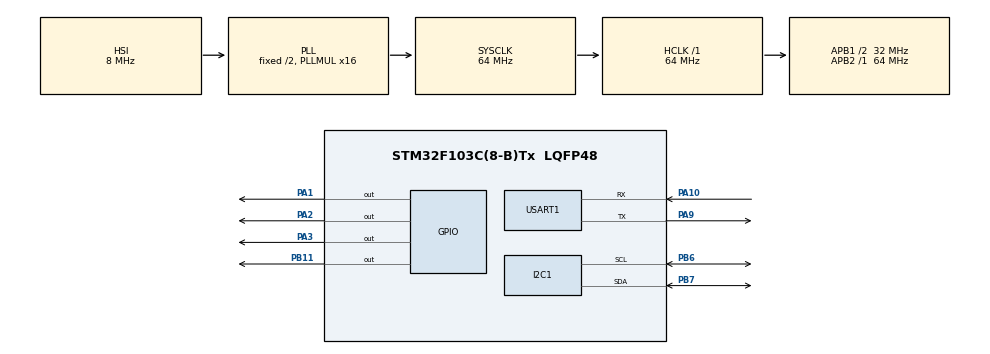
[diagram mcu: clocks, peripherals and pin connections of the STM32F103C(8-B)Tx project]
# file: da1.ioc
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Mcu.Family=STM32F1
Mcu.Name=STM32F103C(8-B)Tx
Mcu.Package=LQFP48
NVIC.PriorityGroup=NVIC_PRIORITYGROUP_4
PA1.Signal=GPIO_Output
PA10.Mode=Asynchronous
PA10.Signal=USART1_RX
PA13.Mode=Serial_Wire
PA13.Signal=SYS_JTMS-SWDIO
PA14.Mode=Serial_Wire
PA14.Signal=SYS_JTCK-SWCLK
PA2.Signal=GPIO_Output
PA3.Signal=GPIO_Output
PA9.Mode=Asynchronous
PA9.Signal=USART1_TX
PB11.Signal=GPIO_Output
PB6.Mode=I2C
PB6.Signal=I2C1_SCL
PB7.Mode=I2C
PB7.Signal=I2C1_SDA
ProjectManager.HeapSize=0x200
ProjectManager.StackSize=0x400
ProjectManager.TargetToolchain=MDK-ARM V5.32
RCC.AHBFreq_Value=64000000
RCC.APB1CLKDivider=RCC_HCLK_DIV2
RCC.APB1Freq_Value=32000000
RCC.APB1TimFreq_Value=64000000
RCC.APB2Freq_Value=64000000
RCC.APB2TimFreq_Value=64000000
RCC.HCLKFreq_Value=64000000
RCC.PLLMUL=RCC_PLL_MUL16
RCC.SYSCLKFreq_VALUE=64000000
RCC.SYSCLKSource=RCC_SYSCLKSOURCE_PLLCLK
RCC.USBFreq_Value=64000000
USART1.VirtualMode=VM_ASYNC
board=custom

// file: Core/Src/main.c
/* USER CODE BEGIN Header */
/**
  ******************************************************************************
  * @file           : main.c
  * @brief          : Main program body
  ******************************************************************************
  * @attention
  *
  * Copyright (c) 2026 STMicroelectronics.
  * All rights reserved.
  *
  * This software is licensed under terms that can be found in the LICENSE file
  * in the root directory of this software component.
  * If no LICENSE file comes with this software, it is provided AS-IS.
  *
  ******************************************************************************
  */
/* USER CODE END Header */
#include "main.h"

/* USER CODE BEGIN Includes */
#include "vl53l0x.h"
#include "ssd1306.h"
#include "warning.h"
#include <stdio.h>
#include <string.h>

/* USER CODE END Includes */

/* USER CODE BEGIN PD */
#define APP_SAMPLE_INTERVAL_MS   200U
#define APP_REPORT_INTERVAL_MS   500U
#define APP_OLED_INTERVAL_MS    1000U
#define APP_SENSOR_RETRY_MS     2000U
#define MAX_DEMO_DISTANCE_MM    2000U   /* 2 m, outside -> NO TARGET */

/* Pin assignment based on the report's draft schematic. Active-high. */
#define LED_GREEN_PIN  GPIO_PIN_1   /* PA1 */
#define LED_YELLOW_PIN GPIO_PIN_2   /* PA2 */
#define LED_RED_PIN    GPIO_PIN_3   /* PA3 */
#define BUZZER_PIN     GPIO_PIN_11  /* PB11, through NPN driver */

/* USER CODE END PD */

I2C_HandleTypeDef hi2c1;

UART_HandleTypeDef huart1;

/* USER CODE BEGIN PV */
static VL53L0X_Device vl53;
static Warning_Tracker warning_tracker;
static uint8_t sensor_ready = 0U;
static uint8_t oled_ready = 0U;
static uint8_t vl53_raw_status = 0U;
static uint16_t last_distance_mm = 0U;
static VL53L0X_Result last_range_result = VL53L0X_ERR_NOT_INITIALIZED;
static uint32_t last_sample_tick;
static uint32_t last_report_tick;
static uint32_t last_oled_tick;
static uint32_t last_retry_tick;
static char message[128];

/* USER CODE END PV */

void SystemClock_Config(void);
static void MX_GPIO_Init(void);
static void MX_I2C1_Init(void);
static void MX_USART1_UART_Init(void);
/* USER CODE BEGIN PFP */
static void App_IO_Init(void);
static void App_SetWarnings(uint32_t now_ms);
static void App_ReadSensor(void);
static void App_SendText(const char *str);
static void App_Report(void);
static void App_DrawOLED(void);

/* USER CODE END PFP */

/* USER CODE BEGIN 0 */

static void App_SendText(const char *str)
{
  if (str == NULL) return;
  (void)HAL_UART_Transmit(&huart1, (uint8_t *)str,
                          (uint16_t)strlen(str), 200U);
}

/* Configure GPIO only within USER CODE, keeping CubeMX functions untouched.
   Later, you may configure these pins in the .ioc instead. */
static void App_IO_Init(void)
{
  GPIO_InitTypeDef gpio = {0};

  __HAL_RCC_GPIOA_CLK_ENABLE();
  __HAL_RCC_GPIOB_CLK_ENABLE();

  HAL_GPIO_WritePin(GPIOA, LED_GREEN_PIN | LED_YELLOW_PIN | LED_RED_PIN,
                    GPIO_PIN_RESET);
  HAL_GPIO_WritePin(GPIOB, BUZZER_PIN, GPIO_PIN_RESET);

  gpio.Pin = LED_GREEN_PIN | LED_YELLOW_PIN | LED_RED_PIN;
  gpio.Mode = GPIO_MODE_OUTPUT_PP;
  gpio.Pull = GPIO_NOPULL;
  gpio.Speed = GPIO_SPEED_FREQ_LOW;
  HAL_GPIO_Init(GPIOA, &gpio);

  gpio.Pin = BUZZER_PIN;
  HAL_GPIO_Init(GPIOB, &gpio);
}

static void App_SetWarnings(uint32_t now_ms)
{
  GPIO_PinState green = GPIO_PIN_RESET;
  GPIO_PinState yellow = GPIO_PIN_RESET;
  GPIO_PinState red = GPIO_PIN_RESET;
  GPIO_PinState buzzer = GPIO_PIN_RESET;

  switch (warning_tracker.state) {
  case WARNING_SAFE:
  case WARNING_NO_TARGET:
    /* Green = no detected collision risk; NO TARGET is not a valid distance. */
    green = GPIO_PIN_SET;
    break;
  case WARNING_CAUTION:
    /* Yellow 1 Hz flash, short beep once per second. */
    yellow = ((now_ms % 1000U) < 500U) ? GPIO_PIN_SET : GPIO_PIN_RESET;
    buzzer = ((now_ms % 1000U) < 120U) ? GPIO_PIN_SET : GPIO_PIN_RESET;
    break;
  case WARNING_CRITICAL:
    red = ((now_ms % 250U) < 125U) ? GPIO_PIN_SET : GPIO_PIN_RESET;
    buzzer = GPIO_PIN_SET;
    break;
  default:
    /* Missing/invalid measurement must not be displayed as SAFE. */
    red = ((now_ms % 1000U) < 250U) ? GPIO_PIN_SET : GPIO_PIN_RESET;
    buzzer = ((now_ms % 1000U) < 100U) ? GPIO_PIN_SET : GPIO_PIN_RESET;
    break;
  }
  HAL_GPIO_WritePin(GPIOA, LED_GREEN_PIN, green);
  HAL_GPIO_WritePin(GPIOA, LED_YELLOW_PIN, yellow);
  HAL_GPIO_WritePin(GPIOA, LED_RED_PIN, red);
  HAL_GPIO_WritePin(GPIOB, BUZZER_PIN, buzzer);
}

static void App_Report(void)
{
  uint32_t abs_speed;
  char direction;
    char ttc_text[20];

    if (warning_tracker.state == WARNING_NO_TARGET) {
      (void)snprintf(message, sizeof(message),
                     "[NO TARGET] beyond demo range; raw=%umm, status=0x%02X\r\n",
                     (unsigned int)last_distance_mm,
                     (unsigned int)vl53_raw_status);
      App_SendText(message);
      return;
    }

  if (warning_tracker.state == WARNING_FAULT) {
    (void)snprintf(message, sizeof(message),
                   "[FAULT] raw=%umm status=0x%02X; VL53=%s; step=%s; I2C=0x%08lX\r\n",
                   (unsigned int)last_distance_mm,
                   (unsigned int)vl53_raw_status,
                   VL53L0X_ResultText(last_range_result),
                   (vl53.last_step != NULL) ? vl53.last_step : "unknown",
                   (unsigned long)vl53.hal_i2c_error);
    App_SendText(message);
    return;
  }

  direction = (warning_tracker.closing_mmps < 0) ? '-' : '+';
  abs_speed = (warning_tracker.closing_mmps < 0) ?
      (uint32_t)(-warning_tracker.closing_mmps) :
      (uint32_t)warning_tracker.closing_mmps;

  if (warning_tracker.ttc_ms == WARNING_TTC_UNKNOWN)
    (void)snprintf(ttc_text, sizeof(ttc_text), "--");
  else
    (void)snprintf(ttc_text, sizeof(ttc_text), "%lu.%lus",
                   (unsigned long)(warning_tracker.ttc_ms / 1000UL),
                   (unsigned long)((warning_tracker.ttc_ms % 1000UL) / 100UL));

  (void)snprintf(message, sizeof(message),
                 "D=%ld.%ldcm | V=%c%lu.%lucm/s | TTC=%s | %s\r\n",
                 (long)(warning_tracker.filtered_mm / 10),
                 (long)(warning_tracker.filtered_mm % 10),
                 direction, (unsigned long)(abs_speed / 10U),
                 (unsigned long)(abs_speed % 10U), ttc_text,
                 Warning_StateText(warning_tracker.state));
  App_SendText(message);
}

static void App_DrawOLED(void)
{
  char line[30];
  uint32_t abs_speed;
  char direction;

  if (oled_ready == 0U) return;
  SSD1306_Clear();

  if (warning_tracker.state == WARNING_FAULT) {
    SSD1306_Print(0U, 0U, "VL53L0X ERROR");
    SSD1306_Print(0U, 2U, "NO VALID RANGE");
    SSD1306_Print(0U, 6U, "STATE: FAULT");
  } else if (warning_tracker.state == WARNING_NO_TARGET) {
    SSD1306_Print(0U, 0U, "NO TARGET");
    SSD1306_Print(0U, 2U, "OUT OF RANGE");
    SSD1306_Print(0U, 4U, "TTC: --");
    SSD1306_Print(0U, 6U, "STATE: NO TARGET");
  } else {
    (void)snprintf(line, sizeof(line), "DIST: %ld.%ld CM",
                   (long)(warning_tracker.filtered_mm / 10),
                   (long)(warning_tracker.filtered_mm % 10));
    SSD1306_Print(0U, 0U, line);

    direction = (warning_tracker.closing_mmps < 0) ? '-' : '+';
    abs_speed = (warning_tracker.closing_mmps < 0) ?
        (uint32_t)(-warning_tracker.closing_mmps) :
        (uint32_t)warning_tracker.closing_mmps;
    (void)snprintf(line, sizeof(line), "SPEED: %c%lu.%lu CM/S",
                   direction, (unsigned long)(abs_speed / 10U),
                   (unsigned long)(abs_speed % 10U));
    SSD1306_Print(0U, 2U, line);

    if (warning_tracker.ttc_ms == WARNING_TTC_UNKNOWN) {
      SSD1306_Print(0U, 4U, "TTC: --");
    } else {
      (void)snprintf(line, sizeof(line), "TTC: %lu.%lu S",
                     (unsigned long)(warning_tracker.ttc_ms / 1000UL),
                     (unsigned long)((warning_tracker.ttc_ms % 1000UL) / 100UL));
      SSD1306_Print(0U, 4U, line);
    }
    (void)snprintf(line, sizeof(line), "STATE: %s",
                   Warning_StateText(warning_tracker.state));
    SSD1306_Print(0U, 6U, line);
  }

  if (SSD1306_Update() != HAL_OK) {
    oled_ready = 0U;
    App_SendText("[WARN] OLED I2C transfer failed; UART continues.\r\n");
  }
}

/* 1. Read VL53L0X; 2. Identify sensor error / no target / normal range.
 * 3. If a range exists, calculate the distance, closing speed and TTC. */
static void App_ReadSensor(void)
{
  uint16_t mm = 0U;

  last_range_result = VL53L0X_ReadSingleMM(&vl53, &mm, &vl53_raw_status);
  last_distance_mm = mm;

  if (last_range_result != VL53L0X_OK) {
    /* True communication/timeout problem: red fault flash and retry init. */
    Warning_Fault(&warning_tracker);
    sensor_ready = 0U;
    last_retry_tick = HAL_GetTick();
  } else if (mm > MAX_DEMO_DISTANCE_MM) {
    /* I2C transfer OK, but range outside demo window (often 8190/8191).
     * This is a DEMO heuristic, not a fully decoded ST RangeStatus. */
    Warning_NoTarget(&warning_tracker);
  } else if (mm < 20U) {
    /* 0 or implausibly tiny range: do not mistakenly declare SAFE. */
    Warning_Fault(&warning_tracker);
  } else {
    Warning_Process(&warning_tracker, mm, HAL_GetTick());
  }
}

/* USER CODE END 0 */

int main(void)
{

  /* MCU Configuration--------------------------------------------------------*/

  /* Reset of all peripherals, Initializes the Flash interface and the Systick. */
  HAL_Init();

  /* Configure the system clock */
  SystemClock_Config();

  /* Initialize all configured peripherals */
  MX_GPIO_Init();
  MX_I2C1_Init();
  MX_USART1_UART_Init();
  /* USER CODE BEGIN 2 */
  App_IO_Init();
  Warning_Reset(&warning_tracker);
  App_SendText("\r\nSTM32F103 COLLISION WARNING DEMO\r\n");
  App_SendText("PA1=GREEN PA2=YELLOW PA3=RED PB11=BUZZER\r\n");
  App_SendText("I2C1 100kHz; UART1 115200 8N1; not safety certified\r\n");

  HAL_Delay(100U);
  oled_ready = (SSD1306_Init(&hi2c1) == HAL_OK) ? 1U : 0U;
  App_SendText(oled_ready ? "[OK] OLED SSD1306\r\n" :
                            "[WARN] OLED not found (try 0x3D)\r\n");

  last_range_result = VL53L0X_Init(&vl53, &hi2c1);
  sensor_ready = (last_range_result == VL53L0X_OK) ? 1U : 0U;
  App_SendText(sensor_ready ? "[OK] VL53L0X initialized\r\n" :
                             "[FAIL] VL53L0X init; will retry\r\n");

  last_sample_tick = HAL_GetTick() - APP_SAMPLE_INTERVAL_MS;
  last_report_tick = HAL_GetTick();
  last_oled_tick = HAL_GetTick() - APP_OLED_INTERVAL_MS;
  last_retry_tick = HAL_GetTick();

  /* USER CODE END 2 */

  /* Infinite loop */
  while (1)
  {

    /* USER CODE BEGIN 3 */
    uint32_t now_ms = HAL_GetTick();

    /* Re-try a failed sensor without hanging the whole application. */
    if (sensor_ready == 0U &&
        (uint32_t)(now_ms - last_retry_tick) >= APP_SENSOR_RETRY_MS) {
      last_retry_tick = now_ms;
      last_range_result = VL53L0X_Init(&vl53, &hi2c1);
      sensor_ready = (last_range_result == VL53L0X_OK) ? 1U : 0U;
      if (sensor_ready != 0U) {
        App_SendText("[OK] VL53L0X recovered\r\n");
        last_sample_tick = HAL_GetTick() - APP_SAMPLE_INTERVAL_MS;
      }
    }

    if (sensor_ready != 0U &&
        (uint32_t)(now_ms - last_sample_tick) >= APP_SAMPLE_INTERVAL_MS) {
      last_sample_tick = now_ms;
      App_ReadSensor();
    }

    now_ms = HAL_GetTick();
    App_SetWarnings(now_ms);

    if ((uint32_t)(now_ms - last_report_tick) >= APP_REPORT_INTERVAL_MS) {
      last_report_tick = now_ms;
      App_Report();
    }
    if ((uint32_t)(now_ms - last_oled_tick) >= APP_OLED_INTERVAL_MS) {
      last_oled_tick = now_ms;
      App_DrawOLED();
    }
    HAL_Delay(10U);
  }
  /* USER CODE END 3 */
}

void SystemClock_Config(void)
{
  RCC_OscInitTypeDef RCC_OscInitStruct = {0};
  RCC_ClkInitTypeDef RCC_ClkInitStruct = {0};

  /** Initializes the RCC Oscillators according to the specified parameters
  * in the RCC_OscInitTypeDef structure.
  */
  RCC_OscInitStruct.OscillatorType = RCC_OSCILLATORTYPE_HSI;
  RCC_OscInitStruct.HSIState = RCC_HSI_ON;
  RCC_OscInitStruct.HSICalibrationValue = RCC_HSICALIBRATION_DEFAULT;
  RCC_OscInitStruct.PLL.PLLState = RCC_PLL_ON;
  RCC_OscInitStruct.PLL.PLLSource = RCC_PLLSOURCE_HSI_DIV2;
  RCC_OscInitStruct.PLL.PLLMUL = RCC_PLL_MUL16;
  if (HAL_RCC_OscConfig(&RCC_OscInitStruct) != HAL_OK)
  {
    Error_Handler();
  }

  /** Initializes the CPU, AHB and APB buses clocks
  */
  RCC_ClkInitStruct.ClockType = RCC_CLOCKTYPE_HCLK|RCC_CLOCKTYPE_SYSCLK
                              |RCC_CLOCKTYPE_PCLK1|RCC_CLOCKTYPE_PCLK2;
  RCC_ClkInitStruct.SYSCLKSource = RCC_SYSCLKSOURCE_PLLCLK;
  RCC_ClkInitStruct.AHBCLKDivider = RCC_SYSCLK_DIV1;
  RCC_ClkInitStruct.APB1CLKDivider = RCC_HCLK_DIV2;
  RCC_ClkInitStruct.APB2CLKDivider = RCC_HCLK_DIV1;

  if (HAL_RCC_ClockConfig(&RCC_ClkInitStruct, FLASH_LATENCY_2) != HAL_OK)
  {
    Error_Handler();
  }
}

static void MX_I2C1_Init(void)
{

  hi2c1.Instance = I2C1;
  hi2c1.Init.ClockSpeed = 100000;
  hi2c1.Init.DutyCycle = I2C_DUTYCYCLE_2;
  hi2c1.Init.OwnAddress1 = 0;
  hi2c1.Init.AddressingMode = I2C_ADDRESSINGMODE_7BIT;
  hi2c1.Init.DualAddressMode = I2C_DUALADDRESS_DISABLE;
  hi2c1.Init.OwnAddress2 = 0;
  hi2c1.Init.GeneralCallMode = I2C_GENERALCALL_DISABLE;
  hi2c1.Init.NoStretchMode = I2C_NOSTRETCH_DISABLE;
  if (HAL_I2C_Init(&hi2c1) != HAL_OK)
  {
    Error_Handler();
  }

}

static void MX_USART1_UART_Init(void)
{

  huart1.Instance = USART1;
  huart1.Init.BaudRate = 115200;
  huart1.Init.WordLength = UART_WORDLENGTH_8B;
  huart1.Init.StopBits = UART_STOPBITS_1;
  huart1.Init.Parity = UART_PARITY_NONE;
  huart1.Init.Mode = UART_MODE_TX_RX;
  huart1.Init.HwFlowCtl = UART_HWCONTROL_NONE;
  huart1.Init.OverSampling = UART_OVERSAMPLING_16;
  if (HAL_UART_Init(&huart1) != HAL_OK)
  {
    Error_Handler();
  }

}

static void MX_GPIO_Init(void)
{

  /* GPIO Ports Clock Enable */
  __HAL_RCC_GPIOA_CLK_ENABLE();
  __HAL_RCC_GPIOB_CLK_ENABLE();

}

void Error_Handler(void)
{
  __disable_irq();
  while (1)
  {
  }
}
